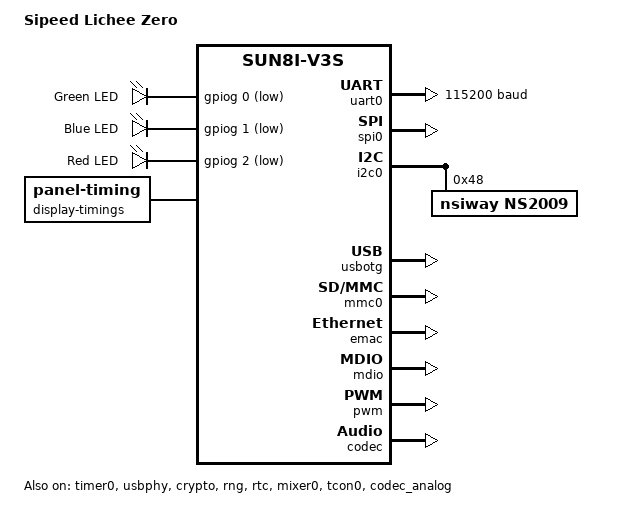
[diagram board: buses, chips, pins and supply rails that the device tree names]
/*
 * Copyright (c) 2026 jeck chen <baidxi404629@gmail.com>
 *
 * SPDX-License-Identifier: Apache-2.0
 */

/dts-v1/;

#include <zephyr/dt-bindings/gpio/gpio.h>
#include <zephyr/dt-bindings/display/panel.h>
#include <zephyr/dt-bindings/pinctrl/allwinner,sun8i-v3s-pinctrl.h>
#include <arm/armv7-a.dtsi>
#include <allwinner/sun8i-v3s.dtsi>

/ {
	model = "Sipeed Lichee Zero";
	compatible = "sipeed,lichee-zero", "allwinner,sun8i-v3s";

	chosen {
		zephyr,console = &uart0;
		zephyr,shell-uart = &uart0;
		zephyr,sram = &ddr0;
		zephyr,entropy = &rng;
		zephyr,display = &mixer0;
	};

	lvgl_pointer {
		compatible = "zephyr,lvgl-pointer-input";
		input = <&ns2009>;
	};

	leds {
		compatible = "gpio-leds";
		green_led: led_0 {
			gpios = <&gpiog 0 GPIO_ACTIVE_LOW>;
			label = "Green LED";
		};
		blue_led: led_1 {
			gpios = <&gpiog 1 GPIO_ACTIVE_LOW>;
			label = "Blue LED";
		};
		red_led: led_2 {
			gpios = <&gpiog 2 GPIO_ACTIVE_LOW>;
			label = "Red LED";
		};
	};
};

&uart0 {
	pinctrl-0 = <&uart0_pins>;
	pinctrl-names = "default";
	status = "okay";
	current-speed = <115200>;
};

&timer0 {
	status = "okay";

	counter0: counter@0 {
		status = "okay";
	};
};

&pinctrl {
	status = "okay";

	default_state {
		i2c0_pins: i2c0-pins {
			pinmux = <SUN8I_V3S_PINMUX(PORT_B, 6, FUNC_PB_TWI0)>,
				 <SUN8I_V3S_PINMUX(PORT_B, 7, FUNC_PB_TWI0)>;
		};

		pwm_pins: pwm-pins {
			pinmux = <SUN8I_V3S_PINMUX(PORT_B, 4, FUNC_PB_PWM)>,
				 <SUN8I_V3S_PINMUX(PORT_B, 5, FUNC_PB_PWM)>;
		};

		spi0_pins: spi0-pins {
			pinmux = <SUN8I_V3S_PINMUX(PORT_C, 0, FUNC_PC_SPI0)>,
				 <SUN8I_V3S_PINMUX(PORT_C, 1, FUNC_PC_SPI0)>,
				 <SUN8I_V3S_PINMUX(PORT_C, 2, FUNC_PC_SPI0)>,
				 <SUN8I_V3S_PINMUX(PORT_C, 3, FUNC_PC_SPI0)>;
		};

		uart0_pins: uart0-pins {
			pinmux = <SUN8I_V3S_PINMUX(PORT_B, 8, FUNC_PB_UART0)>,
						<SUN8I_V3S_PINMUX(PORT_B, 9, FUNC_PB_UART0)>;
			drive-strength = <3>;
			allwinner,pull = "pull_up";
		};

		mmc0_pins: mmc0-pins {
			pinmux = <SUN8I_V3S_PINMUX(PORT_F, 0, FUNC_PF_SDC0)>,
				 <SUN8I_V3S_PINMUX(PORT_F, 1, FUNC_PF_SDC0)>,
				 <SUN8I_V3S_PINMUX(PORT_F, 2, FUNC_PF_SDC0)>,
				 <SUN8I_V3S_PINMUX(PORT_F, 3, FUNC_PF_SDC0)>,
				 <SUN8I_V3S_PINMUX(PORT_F, 4, FUNC_PF_SDC0)>,
				 <SUN8I_V3S_PINMUX(PORT_F, 5, FUNC_PF_SDC0)>;
			drive-strength = <3>;
			allwinner,pull = "pull_up";
		};

		lcd_rgb_pins: lcd-rgb-pins {
			pinmux = <SUN8I_V3S_PINMUX(PORT_E,  0, FUNC_LCD)>,
				 <SUN8I_V3S_PINMUX(PORT_E,  1, FUNC_LCD)>,
				 <SUN8I_V3S_PINMUX(PORT_E,  2, FUNC_LCD)>,
				 <SUN8I_V3S_PINMUX(PORT_E,  3, FUNC_LCD)>,
				 <SUN8I_V3S_PINMUX(PORT_E,  4, FUNC_LCD)>,
				 <SUN8I_V3S_PINMUX(PORT_E,  5, FUNC_LCD)>,
				 <SUN8I_V3S_PINMUX(PORT_E,  6, FUNC_LCD)>,
				 <SUN8I_V3S_PINMUX(PORT_E,  7, FUNC_LCD)>,
				 <SUN8I_V3S_PINMUX(PORT_E,  8, FUNC_LCD)>,
				 <SUN8I_V3S_PINMUX(PORT_E,  9, FUNC_LCD)>,
				 <SUN8I_V3S_PINMUX(PORT_E, 10, FUNC_LCD)>,
				 <SUN8I_V3S_PINMUX(PORT_E, 11, FUNC_LCD)>,
				 <SUN8I_V3S_PINMUX(PORT_E, 12, FUNC_LCD)>,
				 <SUN8I_V3S_PINMUX(PORT_E, 13, FUNC_LCD)>,
				 <SUN8I_V3S_PINMUX(PORT_E, 14, FUNC_LCD)>,
				 <SUN8I_V3S_PINMUX(PORT_E, 15, FUNC_LCD)>,
				 <SUN8I_V3S_PINMUX(PORT_E, 16, FUNC_LCD)>,
				 <SUN8I_V3S_PINMUX(PORT_E, 17, FUNC_LCD)>,
				 <SUN8I_V3S_PINMUX(PORT_E, 18, FUNC_LCD)>,
				 <SUN8I_V3S_PINMUX(PORT_E, 19, FUNC_LCD)>,
				 <SUN8I_V3S_PINMUX(PORT_E, 23, FUNC_LCD)>,
				 <SUN8I_V3S_PINMUX(PORT_E, 24, FUNC_LCD)>;
			drive-strength = <3>;
		};
	};
};

&gpiob {
	status = "okay";
};

&gpioe {
	status = "okay";
};

&gpiof {
	status = "okay";
};

&gpiog {
	status = "okay";
};

&spi0 {
	pinctrl-0 = <&spi0_pins>;
	pinctrl-names = "default";
	clock-source = <&osc24M>;
	status = "okay";
};

&i2c0 {
	pinctrl-0 = <&i2c0_pins>;
	pinctrl-names = "default";
	status = "okay";
	ns2009: ns2009@24 {
		compatible = "nsiway,ns2009";
		reg = <0x48>;
		status = "okay";
		screen-width = <800>;
		screen-height = <600>;
		inverted-y;		/* CH4 vertical axis: raw top=large, bottom=small */
		touch-threshold = <200>;
		poll-period-ms = <15>;
		release-timeout-ms = <100>;
		/*
		 * Calibration from touch data analysis:
		 *   X (CH5 horizontal): left~250  right~3950  (working well)
		 *   Y (CH4 vertical):   top~3750  bottom~280
		 *   Adjusted min-y/max-y to reduce center Y offset
		 */
		min-x = <100>;
		max-x = <4000>;
		min-y = <0>;
		max-y = <3600>;
	};
};

&usbphy {
	dr-mode = "otg";
	usb0_id_det-gpios = <&gpiof 6 (GPIO_ACTIVE_HIGH | GPIO_PULL_UP)>;
	status = "okay";
};

zephyr_udc0:&usbotg {
	status = "okay";
	cdc_acm_uart0: cdc_acm_uart0 {
		compatible = "zephyr,cdc-acm-uart";
		label = "USB CDC ACM";
		tx-fifo-size = <4096>;
		rx-fifo-size = <4096>;
	};
};

&mmc0 {
	pinctrl-0 = <&mmc0_pins>;
	pinctrl-names = "default";
	frequency = <DT_FREQ_M(100)>;
	status = "okay";
};

&usbphy {
	status = "okay";
};

&emac {
	allwinner,leds-active-low;
	status = "okay";
};

&mdio {
	status = "okay";
};

&crypto {
	status = "okay";
};

&rng {
	status = "okay";
};

&pwm {
	pinctrl-0 = <&pwm_pins>;
	pinctrl-names = "default";
	status = "okay";
};

&rtc {
	status = "okay";
};

&display_clocks {
	status = "okay";
};

&mixer0 {
	status = "okay";
	width = <800>;
	height = <600>;
	pixel-format = <PANEL_PIXEL_FORMAT_RGB_565>;
};

&tcon0 {
	status = "okay";
	pinctrl-0 = <&lcd_rgb_pins>;
	pinctrl-names = "default";
	backlight = <&pwm 0 1000>;
	display-timings {
		compatible = "zephyr,panel-timing";
		pixelclk-active = <0>;
		hsync-active = <0>;
		vsync-active = <0>;
		de-active = <1>;
		hsync-len = <128>;
		hback-porch = <88>;
		hfront-porch = <40>;
		vsync-len = <4>;
		vback-porch = <23>;
		vfront-porch = <1>;
		clock-frequency = <40000000>;
	};
};

&codec {
	status = "okay";
};

&codec_analog {
	status = "okay";
};
